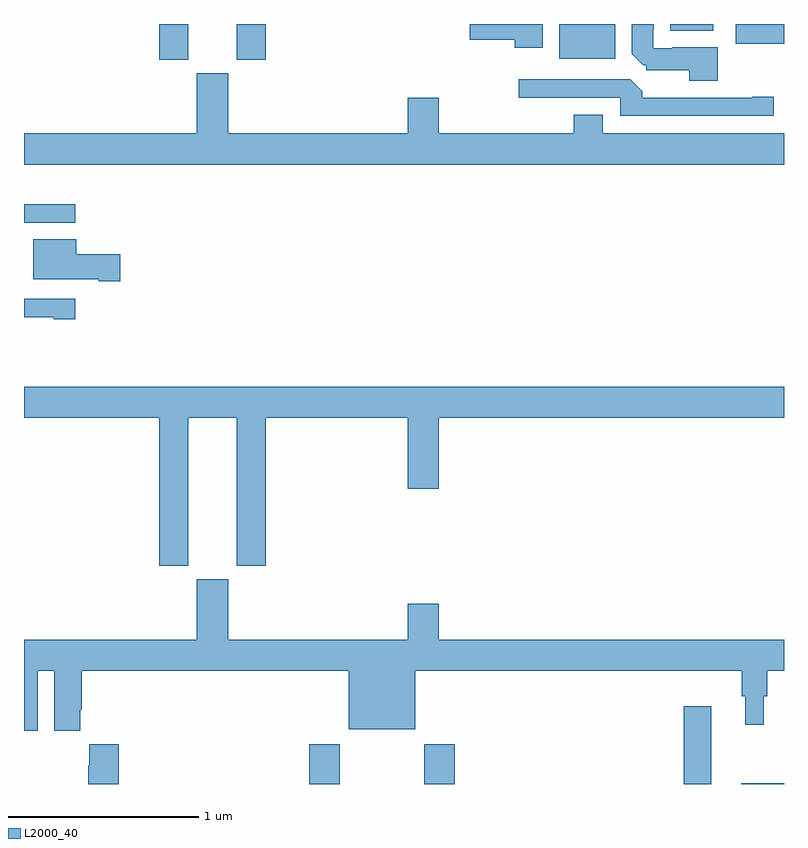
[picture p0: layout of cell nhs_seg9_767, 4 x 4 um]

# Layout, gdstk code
import gdstk
lib = gdstk.Library(unit=1e-6, precision=1e-09)
def R(c, l, rs):  # rectangles x0, y0, x1, y1
    for r in rs: c.add(gdstk.rectangle(r[:2], r[2:], *l))
def P(c, l, *ps):  # polygons
    for p in ps: c.add(gdstk.Polygon(p, *l))
L2000_40 = (2000, 40)

nhs_seg9_767 = lib.new_cell('nhs_seg9_767')
R(nhs_seg9_767, L2000_40, [(152.501,1186.5,152.661,1186.708), (153.106,1186.5,153.266,1186.708), (154.472,1186.5,154.618,1186.909), (154.776,1186.5,155,1186.505), (151,1189.455,151.27,1189.551), (151.712,1190.313,151.864,1190.5), (152.12,1190.313,152.273,1190.5), (153.818,1190.318,154.111,1190.5), (154.746,1190.396,155,1190.5), (154.4,1190.465,154.627,1190.5)])
P(nhs_seg9_767, L2000_40, [(154.651,1190.377),(154.411,1190.377),(154.411,1190.373),(154.311,1190.373),(154.311,1190.473),(154.315,1190.473),(154.315,1190.5),(154.199,1190.5),(154.199,1190.343),(154.259,1190.283),(154.275,1190.283),(154.275,1190.256),(154.502,1190.256),(154.502,1190.201),(154.651,1190.201)],
  [(153.73,1190.5),(153.345,1190.5),(153.345,1190.417),(153.584,1190.417),(153.584,1190.376),(153.73,1190.376)],
  [(155,1189.924),(154.045,1189.924),(154.045,1190.023),(153.893,1190.023),(153.893,1189.924),(153.184,1189.924),(153.184,1190.113),(153.02,1190.113),(153.02,1189.924),(152.074,1189.924),(152.074,1190.241),(151.91,1190.241),(151.91,1189.924),(151,1189.924),(151,1189.76),(155,1189.76)],
  [(154.945,1190.117),(154.832,1190.117),(154.832,1190.112),(154.253,1190.112),(154.253,1190.146),(154.191,1190.208),(153.603,1190.208),(153.603,1190.112),(154.137,1190.112),(154.137,1190.016),(154.945,1190.016)],
  [(151.507,1189.287),(151.276,1189.287),(151.276,1189.366),(151.049,1189.366),(151.049,1189.157),(151.394,1189.157),(151.394,1189.145),(151.507,1189.145)],
  [(151.27,1189.053),(151,1189.053),(151,1188.957),(151.157,1188.957),(151.157,1188.945),(151.27,1188.945)],
  [(151.864,1188.428),(152.12,1188.428),(152.12,1187.649),(152.273,1187.649),(152.273,1188.428),(153.02,1188.428),(153.02,1188.054),(153.184,1188.054),(153.184,1188.428),(155,1188.428),(155,1188.592),(151,1188.592),(151,1188.428),(151.712,1188.428),(151.712,1187.649),(151.864,1187.649)],
  [(151.072,1187.096),(151.16,1187.096),(151.16,1186.779),(151.297,1186.779),(151.297,1186.891),(151.304,1186.891),(151.304,1187.096),(152.708,1187.096),(152.708,1186.787),(153.058,1186.787),(153.058,1187.096),(154.777,1187.096),(154.777,1186.962),(154.796,1186.962),(154.796,1186.812),(154.894,1186.812),(154.894,1186.962),(154.913,1186.962),(154.913,1187.096),(155,1187.096),(155,1187.26),(153.184,1187.26),(153.184,1187.449),(153.02,1187.449),(153.02,1187.26),(152.074,1187.26),(152.074,1187.577),(151.91,1187.577),(151.91,1187.26),(151,1187.26),(151,1186.779),(151.072,1186.779)],
  [(151.499,1186.708),(151.343,1186.708),(151.343,1186.595),(151.339,1186.595),(151.339,1186.5),(151.499,1186.5)])

lib.write_gds('nhs_seg9_767.gds')
